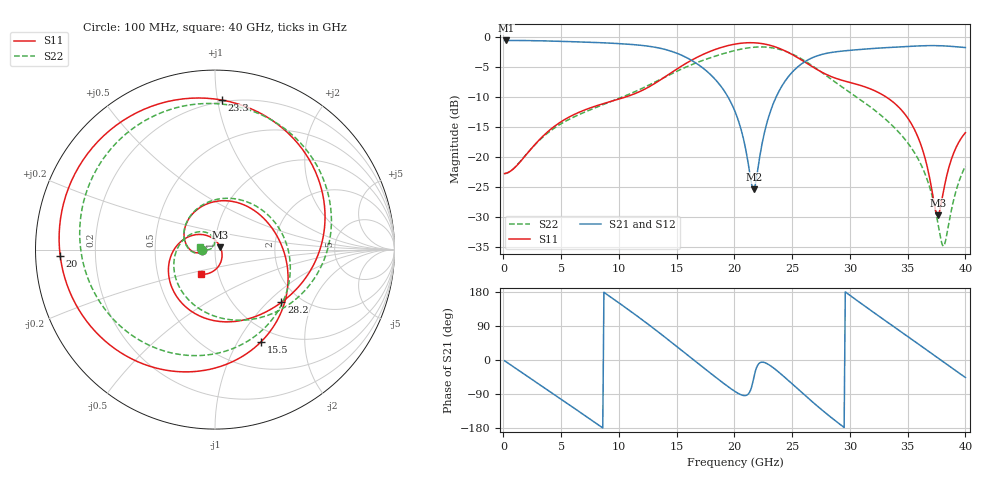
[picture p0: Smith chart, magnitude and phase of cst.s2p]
! B_s8_L1L3_stub_d200: L1→L3, through via (stub to L8), drill Ø0.2
! stackup: 8-layer 1.6 mm FR-4 (generic)
! ports: 1, 2
! CST Studio Suite 2025.5 Release from 2025-05-30, time domain (FIT, hexahedral, PBA), 154800 mesh cells, 36 s
! mesh: {'lpw': 20, 'lpb': 20, 'minstep': 0.0, 'ratio': 20}; ports: port 1 (face); port 2 (face)
! interpolated from CST's 1001 samples to the case grid
# Hz S RI R 50
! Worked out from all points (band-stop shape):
!   400 points, 100 MHz to 40 GHz, reference 50 ohm
!   highest |S21| = -0.66 dB at 200 MHz (marker M1); lowest = -25.3 dB at 21.7 GHz (marker M2)
!   |S21| within 3 dB of the highest: start of sweep to 16.01 GHz; 26.59 GHz to end of sweep
!   lowest |S11| = -29.7 dB at 37.6 GHz (marker M3), VSWR 1.07, Z = 53.1 + j1.41 ohm
!   |S11| at or under -10 dB: start of sweep to 10.65 GHz; 33.1 GHz to end of sweep
!   |S22| runs from -34.8 to -1.7 dB; largest |S21 - S12| = 3.3e-05
!   S11 on the Smith chart (normalised r, x): 100 MHz: 0.86, -0.00; 15.5 GHz: 0.82, -1.26; 20 GHz: 0.07, -0.02; 23.3 GHz: 0.19, +1.03; 28.2 GHz: 1.61, -1.22; 40 GHz: 0.82, -0.23
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1e8  -0.0728 -0.00148  0.9267 -0.0335  0.9266 -0.0335  -0.0727 -0.00163
2e8  -0.0731 -0.00295  0.9249 -0.067  0.9248 -0.067  -0.0729 -0.00324
3.7e9  -0.1563 0.0212  0.2097 -0.8946  0.2097 -0.8946  -0.1538 0.0136
6.8e9  -0.1102 0.2139  -0.7029 -0.5629  -0.7029 -0.5629  -0.1407 0.1826
9.7e9  0.1599 0.2499  -0.8075 0.3403  -0.8075 0.3403  0.0867 0.2855
1.17e10  0.3306 0.1007  -0.3347 0.7803  -0.3347 0.7803  0.3154 0.1728
1.34e10  0.406 -0.1247  0.2213 0.7742  0.2212 0.7742  0.4196 -0.1018
1.55e10  0.2563 -0.514  0.6359 0.2781  0.6359 0.2781  0.185 -0.5084
1.78e10  -0.3702 -0.6477  0.4215 -0.2617  0.4215 -0.2617  -0.4408 -0.4922
2e10  -0.8625 -0.0357  0.0338 -0.2429  0.0338 -0.2429  -0.753 0.1265
2.01e10  -0.8665 0.00562  0.0242 -0.231  0.0242 -0.231  -0.7504 0.1619
2.17e10  -0.62 0.6344  0.039 -0.0373  0.039 -0.0374  -0.4639 0.6701
2.33e10  0.0399 0.833  0.2525 -0.0871  0.2525 -0.0871  0.1428 0.7921
2.5e10  0.5583 0.4368  0.2295 -0.4502  0.2295 -0.4502  0.6121 0.3706
2.67e10  0.562 -0.0583  -0.2167 -0.6272  -0.2167 -0.6272  0.5525 -0.162
2.82e10  0.3703 -0.2939  -0.616 -0.3953  -0.616 -0.3953  0.2516 -0.379
3.06e10  0.0235 -0.4003  -0.7166 0.2993  -0.7166 0.2993  -0.1527 -0.2737
3.34e10  -0.2547 -0.1634  -0.0915 0.8057  -0.0915 0.8057  -0.1889 0.0396
3.59e10  -0.1215 0.0802  0.6127 0.567  0.6127 0.5671  -0.0354 0.0899
3.76e10  0.0299 0.0132  0.8354 0.0817  0.8354 0.0817  -0.00406 0.0286
3.82e10  0.0388 -0.0432  0.8279 -0.1098  0.8279 -0.1098  -0.0162 0.0096
4e10  -0.0802 -0.1373  0.5619 -0.5829  0.5619 -0.5829  -0.0827 0.0153
